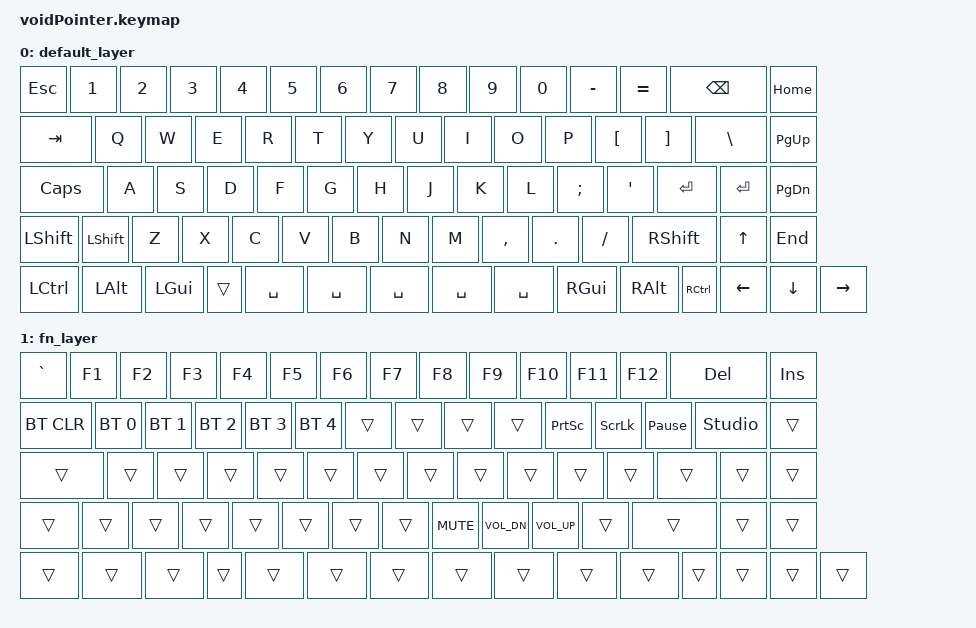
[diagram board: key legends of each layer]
/*
 * Copyright (c) 2024
 * SPDX-License-Identifier: MIT
 */

#include <behaviors.dtsi>
#include <dt-bindings/zmk/keys.h>
#include <dt-bindings/zmk/bt.h>
#include <dt-bindings/zmk/outputs.h>
#include <behaviors/studio_unlock.dtsi>

/ {
    keymap {
        compatible = "zmk,keymap";

        default_layer {
            bindings = <
                &kp ESC   &kp N1    &kp N2   &kp N3   &kp N4    &kp N5   &kp N6   &kp N7   &kp N8    &kp N9   &kp N0    &kp MINUS &kp EQUAL &kp BSPC  &kp HOME
                &kp TAB   &kp Q     &kp W    &kp E    &kp R     &kp T    &kp Y    &kp U    &kp I     &kp O    &kp P     &kp LBKT  &kp RBKT  &kp BSLH  &kp PG_UP
                &kp CAPS  &kp A     &kp S    &kp D    &kp F     &kp G    &kp H    &kp J    &kp K     &kp L    &kp SEMI  &kp SQT   &kp RET   &kp RET   &kp PG_DN
                &kp LSHFT &kp LSHFT &kp Z    &kp X    &kp C     &kp V    &kp B    &kp N    &kp M     &kp COMMA &kp DOT  &kp FSLH  &kp RSHFT &kp UP    &kp END
                &kp LCTRL &kp LALT  &kp LGUI &trans   &kp SPACE &kp SPACE &kp SPACE &kp SPACE &kp SPACE &kp RGUI &kp RALT &kp RCTRL &kp LEFT  &kp DOWN  &kp RIGHT
            >;
        };

        fn_layer {
            bindings = <
                &kp GRAVE &kp F1       &kp F2       &kp F3       &kp F4    &kp F5    &kp F6    &kp F7    &kp F8       &kp F9       &kp F10   &kp F11      &kp F12      &kp DEL   &kp INS
                &bt BT_CLR &bt BT_SEL 0 &bt BT_SEL 1 &bt BT_SEL 2 &bt BT_SEL 3 &bt BT_SEL 4 &trans &trans &trans    &trans       &kp PSCRN &kp SLCK     &kp PAUSE_BREAK &studio_unlock &trans
                &trans    &trans       &trans       &trans       &trans    &trans    &trans    &trans    &trans       &trans       &trans    &trans       &trans       &trans    &trans
                &trans    &trans       &trans       &trans       &trans    &trans    &trans    &trans    &kp C_MUTE   &kp C_VOL_DN &kp C_VOL_UP &trans    &trans       &trans    &trans
                &trans    &trans       &trans       &trans       &trans    &trans    &trans    &trans    &trans       &trans       &trans    &trans       &trans       &trans    &trans
            >;
        };
    };
};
